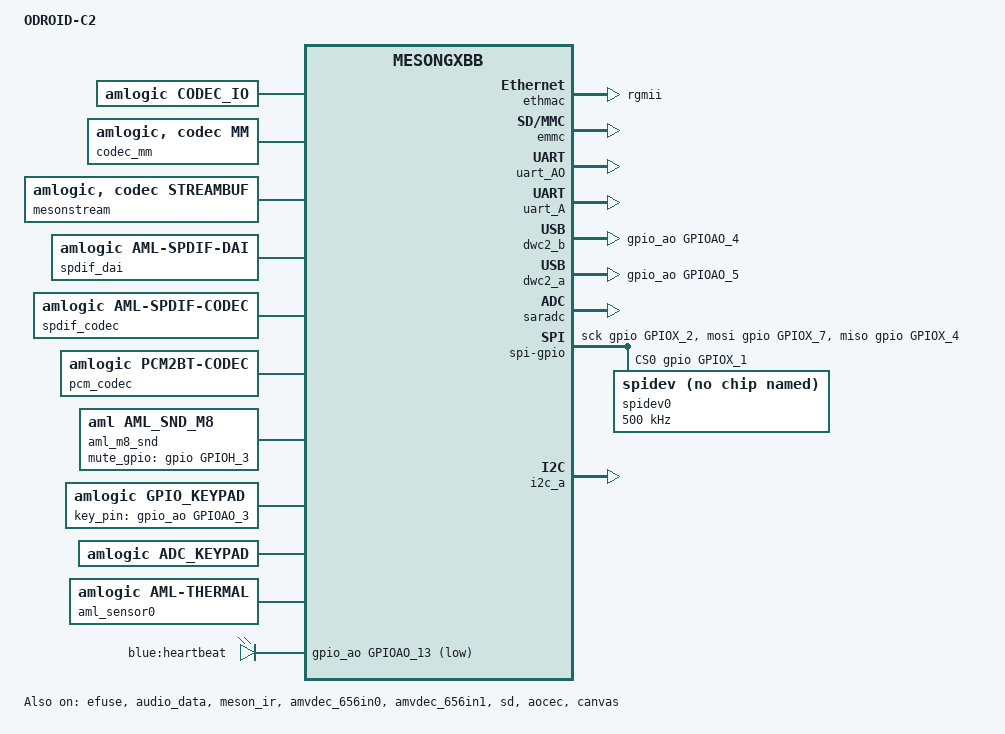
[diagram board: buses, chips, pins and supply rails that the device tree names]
/*
 * AMLogic's S905 based ODROID-C2 board device tree source
 *
 * Copyright (c) 2015 Hardkernel Co., Ltd.
 *                    http://www.hardkernel.com
 *
 * Device tree source file for Hardkernel's ODROID-C2 board based on AMLogic's
 * S905 SoC.
 *
 * This program is free software; you can redistribute it and/or modify
 * it under the terms of the GNU General Public License version 2 as
 * published by the Free Software Foundation.
 */

/dts-v1/;

#include <dt-bindings/interrupt-controller/arm-gic.h>
#include <dt-bindings/clock/gxbb.h>
#include <dt-bindings/gpio/gxbb.h>
#include <dt-bindings/gpio/gpio.h>
#include <dt-bindings/reset/aml_gxbb.h>
#include "amlogic/mesongxbb.dtsi"
/ {
	model = "ODROID-C2";
	amlogic-dt-id = "odroidc2_2g";
	compatible = "amlogic, Gxbb";
	interrupt-parent = <&gic>;
	#address-cells = <2>;
	#size-cells = <2>;

	aliases {
		serial0 = &uart_AO;
		serial1 = &uart_A;
	};

	gpu_dvfs_tbl:gpu_dvfs_tbl {
		sc_mpp = <3>;/* number of pp used most of time.*/
		tbl = <&clk285_cfg &clk400_cfg &clk500_cfg &clk666_cfg &clk800_cfg>;
	};

	memory@00000000 {
		device_type = "memory";
		linux,usable-memory = <0x0 0x1000000 0x0 0x7f000000>;
	};

	reserved-memory {
		#address-cells = <2>;
		#size-cells = <2>;
		ranges;
		/* global autoconfigured region for contiguous allocations */
		secmon_reserved:linux,secmon {
			compatible = "amlogic, aml_secmon_memory";
			reg = <0x0 0x10000000 0x0 0x200000>;
			no-map;
		};
		secos_reserved:linux,secos {
			status = "disable";
			compatible = "amlogic, aml_secos_memory";
			reg = <0x0 0x05300000 0x0 0x2000000>;
			no-map;
		};
		pstore:aml_pstore {
			compatible = "amlogic, pstore";
			reg = <0x0 0x07300000 0x0 0x100000>;
			no-map;
		};
		fb_reserved:linux,meson-fb {
			compatible = "amlogic, fb-memory";
			size = <0x0 0x1900000>;
			no-map;
		};

		di_reserved:linux,di {
			compatible = "amlogic, di-mem";
			size = <0x0 0x1e00000>; //10x1920x1088x3/2=30M
			//no-map;
			multi-use;
		};

		ion_reserved:linux,ion-dev {
			compatible = "amlogic, idev-mem";
			size = <0x0 0x2000000>;
			multi-use;
		};

		/*  POST PROCESS MANAGER */
		//ppmgr_reserved:linux,ppmgr {
		//	compatible = "amlogic, ppmgr_memory";
		//	size = <0x0 0x2000000>;
		//};

		codec_mm_cma:linux,codec_mm_cma {
			compatible = "shared-dma-pool";
			reusable;
			size = <0x0 0xc000000>;
			alignment = <0x0 0x400000>;
			linux,contiguous-region;
		};
		picdec_cma_reserved:linux,picdec {
			compatible = "shared-dma-pool";
			reusable;
			size = <0x0 0x0>;
			status = "disabled";
			alignment = <0x0 0x400000>;
			linux,contiguous-region;
		};
		/* codec shared reserved */
		codec_mm_reserved:linux,codec_mm_reserved {
			compatible = "amlogic, codec-mm-reserved";
			size = <0x0 0x4100000>;
			alignment = <0x0 0x100000>;
 			//no-map;
		};
	};

	meson-vout {
		compatible = "amlogic, meson-vout";
		dev_name = "meson-vout";
		status = "okay";
	};
	meson-fb {
		compatible = "amlogic, meson-fb";
		memory-region = <&fb_reserved>;
		dev_name = "meson-fb";
		status = "okay";
		interrupts = <0 3 1
			0 89 1>;
		interrupt-names = "viu-vsync", "rdma";
		mem_size = <0x01800000 0x00100000>; /* fb0/fb1 memory size */
		display_mode_default = "1080p60hz";
		scale_mode = <1>; /** 0:VPU free scale 1:OSD free scale 2:OSD super scale */
		display_size_default = <1920 1080 1920 3240 32>; //1920*1080*4*3 = 0x17BB000
	};
	ge2d {
		compatible = "amlogic, ge2d";
		dev_name = "ge2d";
		status = "okay";
		interrupts = <0 150 1>;
		interrupt-names = "ge2d";
		clocks = <&clock CLK_VAPB_0>,
			<&clock CLK_GE2D>;
		clock-names = "clk_vapb_0",
				"clk_ge2d";
		resets = <&clock GCLK_IDX_GE2D>;
		reset-names = "ge2d";
	};
	codec_io {
		compatible = "amlogic, codec_io";
		#address-cells=<2>;
		#size-cells=<2>;
		ranges;
		io_cbus_base{
			reg = <0x0 0xC1100000 0x0 0x100000>;
		};
		io_dos_base{
			reg = <0x0 0xc8820000 0x0 0x10000>;
		};
		io_hiubus_base{
			reg = <0x0 0xc883c000 0x0 0x2000>;
		};
		io_aobus_base{
			reg = <0x0 0xc8100000 0x0 0x100000>;
		};
		io_vcbus_base{
			reg = <0x0 0xd0100000 0x0 0x40000>;
		};
		io_dmc_base{
			reg = <0x0 0xc8838000 0x0 0x400>;
		};
	};
	codec_mm {
			compatible = "amlogic, codec, mm";
			memory-region = <&codec_mm_cma &codec_mm_reserved>;
			dev_name = "codec_mm";
			status = "okay";
	};
	ethmac: ethernet@0xc9410000{
                compatible = "amlogic, gxbb-rgmii-dwmac";
                reg = <0x0 0xc9410000 0x0 0x10000
                0x0 0xc8834540 0x0 0x8>;
                interrupts = <0 8 1>;
                phy-mode= "rgmii";
                pinctrl-names = "eth_pins";
                pinctrl-0 = <&eth_pins>;
                rst_pin-gpios = <&gpio GPIOZ_14 0>;
                mc_val = <0x1621>;
                resets = <&clock GCLK_IDX_ETHERNET>;
                reset-names = "ethpower";
                interrupt-names = "macirq";
                clocks = <&clock CLK_81>;
                clock-names = "ethclk81";
        };

	pwm {
		compatible = "amlogic, odroid-pwm";
		dev_name = "meson_pwm";
		status = "okay";
		pinctrl-names = "odroid_pwm0","odroid_pwm1";
		pinctrl-0 = <&odroid_pwm0>;
		pinctrl-1 = <&odroid_pwm1>;
	};

	pwm-ctrl {
		compatible = "amlogic, pwm-ctrl";
		dev_name = "pwm-ctrl";
		status = "okay";
	};

	mesonstream {
		compatible = "amlogic, codec, streambuf";
		dev_name = "mesonstream";
		status = "okay";
		resets = <&clock GCLK_IDX_HIU_PARSER_TOP
			&clock GCLK_IDX_VPU_INTR
			&clock GCLK_IDX_DEMUX
			&clock GCLK_IDX_DOS>;
		reset-names = "parser_top",
			"vpu_intr",
			"demux",
			"vdec";
	};

	amvideocap {
		compatible = "amlogic, amvideocap";
		dev_name = "amvideocap.0";
		status = "okay";
		max_size = <8>;//8M
	};

	ion_dev {
		compatible = "amlogic, ion_dev";
		memory-region = <&ion_reserved>;
	};

	vdec {
		compatible = "amlogic, vdec";
		dev_name = "vdec.0";
		status = "okay";
		interrupts = <0 3 1
			0 23 1
			0 32 1
			0 43 1
			0 44 1
			0 45 1>;
		interrupt-names = "vsync",
			"demux",
			"parser",
			"mailbox_0",
			"mailbox_1",
			"mailbox_2";
	};
	picdec {
		   compatible = "amlogic, picdec";
		   memory-region = <&picdec_cma_reserved>;
		   dev_name = "picdec";
		   status = "okay";
	};
	ppmgr {
		compatible = "amlogic, ppmgr";//to match of_device_id's compatible member
		memory-region = <&ion_reserved>;
		dev_name = "ppmgr";
		status = "okay";
	};
	deinterlace {
		compatible = "amlogic, deinterlace";
		status = "okay";
		memory-region = <&di_reserved>;
		interrupts = <0 46 1
				0 6 1>;
		interrupt-names = "de_irq",
				"timerc";
		buffer-size = <3133440>;	//1920x1088x3/2
		hw-version = <2>;
	};

	amvdec_656in0 {
		compatible = "amlogic, amvdec_656in";
		dev_name = "amvdec_656in0";
		status = "ok";
		reg = <0x0 0xd0048000 0x0 0x7c>;
		clocks = <&clock CLK_FPLL_DIV2>,
			<&clock CLK_BT656_CLK0>;
		clock-names = "fclk_div2", "cts_bt656_clk0";
		bt656_id = <0>;
	};
	amvdec_656in1 {
		compatible = "amlogic, amvdec_656in";
		dev_name = "amvdec_656in1";
		status = "ok";
		reg = <0x0 0xd0050000 0x0 0x7c>;
		clocks = <&clock CLK_FPLL_DIV2>,
			<&clock CLK_BT656_CLK1>;
		clock-names = "fclk_div2", "cts_bt656_clk1";
		bt656_id = <1>;
	};

	amvenc_avc{
		compatible = "amlogic, amvenc_avc";
		//memory-region = <&amvenc_avc_reserved>;
		dev_name = "amvenc_avc";
		status = "okay";
		interrupts = <0 45 1>;
		interrupt-names = "mailbox_2";
	};

	vpu {
		compatible = "amlogic, vpu";
		dev_name = "vpu";
		status = "ok";
		clk_level = <7>;
		/**	0: 100.0M    1: 166.7M    2: 200.0M
			3: 250.0M    4: 333.3M    5: 400.0M
			6: 500.0M    7: 666.7M */
	};

    sd{
        compatible = "amlogic, aml_sd_emmc";
        dev_name = "aml_newsd.0";
        status = "okay";
        reg = <0x0 0xd0072000 0x0 0x2000>;
        interrupts = <	0 217 1
        				0 67 1
        				0 69 1>;
        pinctrl-names = "sd_clk_cmd_pins", "sd_all_pins", "sd_1bit_pins","sd_clk_cmd_uart_pins","sd_1bit_uart_pins", "sd_to_ao_uart_pins", "ao_to_sd_uart_pins","ao_to_sd_jtag_pins","sd_to_ao_jtag_pins";
        pinctrl-0 = <&sd_clk_cmd_pins>;
        pinctrl-1 = <&sd_all_pins>;
        pinctrl-2 = <&sd_1bit_pins>;
        pinctrl-3 = <&sd_clk_cmd_uart_pins>;
        pinctrl-4 = <&sd_1bit_uart_pins>;
        pinctrl-5 = <&sd_to_ao_uart_pins>;
        pinctrl-6 = <&ao_to_sd_uart_pins>;
        pinctrl-7 = <&ao_to_sd_jtag_pins>;
        pinctrl-8 = <&sd_to_ao_jtag_pins>;

		sd{
	   		status = "okay";
	   		pinname = "sd";
	   		ocr_avail = <0x00200080>; // 3.3:0x200000, 1.8+3.3:0x00200080
	   		caps = "MMC_CAP_4_BIT_DATA","MMC_CAP_MMC_HIGHSPEED",
					"MMC_CAP_SD_HIGHSPEED";
					//"MMC_CAP_UHS_SDR12",
					//"MMC_CAP_UHS_SDR25","MMC_CAP_UHS_SDR50",
					//"MMC_CAP_UHS_SDR104";
	   		f_min = <400000>;
	   		f_max = <100000000>;
	   		max_req_size = <0x20000>;          /**128KB*/
			gpio_dat3 = <&gpio       CARD_4       GPIO_ACTIVE_HIGH>;
			jtag_pin =  <&gpio       CARD_0       GPIO_ACTIVE_HIGH>;
			gpio_cd =  <&gpio       CARD_6       GPIO_ACTIVE_HIGH>;
			/*if card have no switch gpio, remove all relative to vol_switch */
			vol_switch =  <&gpio_ao       GPIOAO_3       GPIO_ACTIVE_LOW>;
			vol_switch_18 = <1>; /* 1 = high, 0 = low */
			vol_switch_delay = <150>; /* Uint: ms*/
	   		irq_in = <3>;
	   		irq_out = <5>;
	   		card_type = <5>; /* 0:unknown, 1:mmc card(include eMMC), 2:sd card(include tSD), 3:sdio device(ie:sdio-wifi), 4:SD combo (IO+mem) card, 5:NON sdio device(means sd/mmc card), other:reserved */
		};
    };
    emmc{
        compatible = "amlogic, aml_sd_emmc";
        dev_name = "aml_newsd.0";
        status = "okay";
        reg = <0x0 0xd0074000 0x0 0x2000>;
        interrupts = <	0 218 1>;
        pinctrl-names = "emmc_clk_cmd_pins", "emmc_all_pins";
        pinctrl-0 = <&emmc_clk_cmd_pins>;
        pinctrl-1 = <&emmc_all_pins>;
        emmc{
            status = "okay";
            pinname = "emmc";
            ocr_avail = <0x200080>;          /**VDD voltage 3.3 ~ 3.4 */
            caps = "MMC_CAP_8_BIT_DATA","MMC_CAP_MMC_HIGHSPEED",
			"MMC_CAP_SD_HIGHSPEED", "MMC_CAP_NONREMOVABLE","MMC_CAP_1_8V_DDR",
			"MMC_CAP_HW_RESET", "MMC_CAP_ERASE", "MMC_CAP_CMD23";
                        caps2 = "MMC_CAP2_HS200_1_8V_SDR",
                              "MMC_CAP2_HS400_1_8V",
                              "MMC_CAP2_BROKEN_VOLTAGE",
                              "MMC_CAP2_BOOTPART_NOACC";
                        f_min = <400000>;
                        f_max = <100000000>;
			tx_phase = <0>;
            max_req_size = <0x20000>;          /**256KB*/
//            gpio_dat3 = "BOOT_3"
		gpio_dat3 = <&gpio       BOOT_3      GPIO_ACTIVE_HIGH>;
		hw_reset =  <&gpio       BOOT_9      GPIO_ACTIVE_HIGH>;
            card_type = <1>; /* 1:mmc card(include eMMC), 2:sd card(include tSD), */
		};
    };

	amhdmitx: amhdmitx{
		compatible = "amlogic, amhdmitx";
		dev_name = "amhdmitx";
		status = "okay";
		pinctrl-names="hdmitx_hpd", "hdmitx_ddc";
		pinctrl-0=<&hdmitx_hpd>;
		pinctrl-1=<&hdmitx_ddc>;
		/* HPD, 57 + 32 = 89; CEC, 151 + 32 = 183*/
		interrupts = <0 57 1>;
		interrupt-names = "hdmitx_hpd";
		clocks = <&clock CLK_HDMITX_SYS &clock CLK_HDMITX_ENCP
			&clock CLK_HDMITX_ENCI &clock CLK_HDMITX_PIXEL
			&clock CLK_HDMITX_PHY &clock CLK_VID>;
		clock-names = "hdmitx_clk_sys", "hdmitx_clk_encp", "hdmitx_clk_enci",
			"hdmitx_clk_pixel", "hdmitx_clk_phy", "hdmitx_clk_vid";
		ranges;
		#address-cells = <2>;
		#size-cells = <2>;
	};
	aocec: aocec{
		compatible = "amlogic, amlogic-aocec";
		status = "okay";
		vendor_name = "Hardkernel"; /* Max Chars: 8     */
		vendor_id = <0x000000>; /* Refer to http://standards.ieee.org/develop/regauth/oui/oui.txt   */
		product_desc = "ODROID-C2"; /* Max Chars: 16    */
		cec_osd_string = "ODROID-C2"; /* Max Chars: 14    */
		port_num = <1>;
		arc_port_mask = <0x0>;
		interrupts = <0 199 1>;
		interrupt-names = "hdmi_aocec";
		pinctrl-names = "hdmitx_aocec";
		pinctrl-0=<&hdmitx_aocec>;
		reg = <0x0 0xc810023c 0x0 0x4
		       0x0 0xc8100000 0x0 0x200>;
	};

	tvout {
		compatible = "amlogic, tvout";
		dev_name = "tvout";
		status = "okay";
	};

	uart_AO: serial@c81004c0 {
		compatible = "amlogic, meson-uart";
		reg = <0x0 0xc81004c0 0x0 0x14>;
		interrupts = <0 193 1>;
		status = "okay";
		clocks = <&clock CLK_XTAL>;
		clock-names = "clk_uart";
		fifosize = < 64 >;
		pinctrl-names = "default";
		//pinctrl-0 = <&ao_uart_pins>;
		support-sysrq = <0>;	/* 0 not support , 1 support */
	};
	uart_A: serial@c11084c0 {
		compatible = "amlogic, meson-uart";
		reg = <0x0 0xc11084c0 0x0 0x14>;
		interrupts = <0 26 1>;
		status = "okay";
		clocks = <&clock CLK_XTAL>;
		clock-names = "clk_uart";
		fifosize = < 128 >;
		pinctrl-names = "default";
		pinctrl-0 = <&a_uart_pins>;
		resets = <&clock GCLK_IDX_UART0>;
	};


	canvas{
		compatible = "amlogic, meson, canvas";
		dev_name = "amlogic-canvas";
		status = "ok";
		reg = <0x0 0xc8838000 0x0 0x400>;
	};

	rdma{
		compatible = "amlogic, meson, rdma";
		dev_name = "amlogic-rdma";
		status = "ok";
		interrupts = <0 89 1>;
		interrupt-names = "rdma";
	};

	dwc2_b {
		compatible = "amlogic,dwc2";
		device_name = "dwc2_b";
		reg = <0x0 0xc9100000 0x0 0x40000>;
		interrupts = <0 31 4>;
		status = "okay";
		pl-periph-id = <1>; /** lm name */
		clock-src = "usb1"; /** clock src */
		port-id = <1>;   /** ref to mach/usb.h */
		port-type = <1>;	/** 0: otg, 1: host, 2: slave */
		port-speed = <0>; /** 0: default, 1: high, 2: full */
		port-config = <0>; /** 0: default */
		port-dma = <0>; /** 0: default, 1: single, 2: incr, 3: incr4, 4: incr8, 5: incr16, 6: disable*/
		port-id-mode = <1>; /** 0: hardware, 1: sw_host, 2: sw_slave*/
		gpio-hub-rst = "GPIOAO_4";
		gpios = <&gpio_ao GPIOAO_4 GPIO_ACTIVE_HIGH>;
		phy-reg = <0xc0000020>;
		phy-reg-size = <0x20>;
		usb-fifo = <1024>;
		host-only-core = <1>;
		pmu-apply-power = <1>;
		cpu-type = "gxbaby";
		resets = <&clock GCLK_IDX_USB_GENERAL
					&clock GCLK_IDX_MISC_USB1_TO_DDR
					&clock GCLK_IDX_USB1>;
		reset-names = "usb_general",
						"usb1",
						"usb1_to_ddr";
	};

	odroid_sysfs {
		compatible = "odroid-sysfs";
	};

	dwc2_a {
		compatible = "amlogic,dwc2";
		device_name = "dwc2_a";
		reg = <0x0 0xc9000000 0x0 0x40000>;
		interrupts = <0 30 4>;
		status = "okay";
		pl-periph-id = <0>; /** lm name */
		clock-src = "usb0"; /** clock src */
		port-id = <0>;  /** ref to mach/usb.h */
		port-type = <0>;	/** 0: otg, 1: host, 2: slave */
		port-speed = <0>; /** 0: default, high, 1: full */
		port-config = <0>; /** 0: default */
		port-dma = <0>; /** 0: default, 1: single, 2: incr, 3: incr4, 4: incr8, 5: incr16, 6: disable*/
		port-id-mode = <0>; /** 0: hardware, 1: sw_host, 2: sw_slave*/
		gpio-vbus-power = "GPIOAO_5";
		gpios = <&gpio_ao GPIOAO_5 GPIO_ACTIVE_HIGH>;
		gpio-work-mask	= <1>; /**0: work on pulldown,1:work on pullup*/
		phy-reg = <0xc0000000>;
		phy-reg-size = <0x20>;
		usb-fifo = <1024>;
		cpu-type = "gxbaby";
		resets = <&clock GCLK_IDX_USB_GENERAL
					    &clock GCLK_IDX_MISC_USB0_TO_DDR
              &clock GCLK_IDX_USB0>;
		reset-names = "usb_general",
						"usb0",
						"usb0_to_ddr";
	};

	/* AUDIO MESON8 DEVICES */
	i2s_dai: I2S {
		#sound-dai-cells = <0>;
		resets = <
			&clock GCLK_IDX_AIU_AI_TOP_GLUE
			&clock GCLK_IDX_AUD_BUF_ABD
			&clock GCLK_IDX_AIU_I2S_OUT
			&clock GCLK_IDX_AIU_AMCLK_MEASURE
			&clock GCLK_IDX_AIU_AIFIFO2
			&clock GCLK_IDX_AIU_AUD_MIXER
			&clock GCLK_IDX_AIU_MIXER_REG
			&clock GCLK_IDX_AIU_ADC
			&clock GCLK_IDX_AIU_TOP_LEVEL
			&clock GCLK_IDX_AIU_AOCLK
			&clock GCLK_IDX_AUD_IN
		>;
		reset-names =
			"top_glue",
			"aud_buf",
			"i2s_out",
			"amclk_measure",
			"aififo2",
			"aud_mixer",
			"mixer_reg",
			"adc",
			"top_level",
			"aoclk",
			"aud_in";
		clocks = <&clock CLK_MPLL2>,
			<&clock CLK_AMCLK>;
		clock-names = "mpll2", "mclk";
		compatible = "amlogic, aml-i2s-dai";
	};
	spdif_dai: SPDIF {
		#sound-dai-cells = <0>;
		compatible = "amlogic, aml-spdif-dai";
		resets = <
			&clock GCLK_IDX_AIU_IEC958
			&clock GCLK_IDX_AIU_ICE958_AMCLK
		>;
		reset-names =
			"iec958",
			"iec958_amclk";
		clocks = <&clock CLK_MPLL1>,
			<&clock CLK_I958>,
			<&clock CLK_AMCLK>,
			<&clock CLK_SPDIF>,
			<&clock CLK_81>;
		clock-names = "mpll1", "i958", "mclk", "spdif", "clk_81";
	};
	pcm_dai: PCM {
		#sound-dai-cells = <0>;
		compatible = "amlogic, aml-pcm-dai";
		pinctrl-names = "aml_audio_btpcm";
		pinctrl-0 = <&audio_btpcm_pins>;
		clocks = <&clock CLK_MPLL0>,
			<&clock CLK_PCM_MCLK>,
			<&clock CLK_PCM_SCLK>;
		clock-names = "mpll0", "pcm_mclk", "pcm_sclk";
		pcm_mode = <1>;	/* 0=slave mode, 1=master mode */
        };
	i2s_plat: i2s_platform {
		compatible = "amlogic, aml-i2s";
		interrupts = <0 29 1>;
	};
	pcm_plat: pcm_platform {
		compatible = "amlogic, aml-pcm";
	};
	spdif_codec: spdif_codec {
		#sound-dai-cells = <0>;
		compatible = "amlogic, aml-spdif-codec";
		device_name = "dummy-spdif-dit.0";
		pinctrl-names = "aml_audio_spdif";
		pinctrl-0 = <&audio_spdif_pins>;
	};
	pcm_codec: pcm_codec{
		#sound-dai-cells = <0>;
		compatible = "amlogic, pcm2BT-codec";
	};
	/* endof AUDIO MESON8 DEVICES */

	/* AUDIO board specific */
	dummy_codec:dummy{
		#sound-dai-cells = <0>;
		compatible = "amlogic, aml_dummy_codec";
		status = "okay";
	};
	aml_m8_snd {
		compatible = "aml, aml_snd_m8";
		status = "okay";
		aml-sound-card,format = "i2s";
		aml_sound_card,name = "AML-M8AUDIO";
		aml,audio-routing =
				"Ext Spk","LOUTL",
				"Ext Spk","LOUTR";

		mute_gpio-gpios = <&gpio GPIOH_3 0>;
		hp_disable;
		hp_paraments = <800 300 0 5 1>;
		pinctrl-names = "aml_snd_m8";
		pinctrl-0 = <&audio_pins>;
		cpu_list = <&cpudai0 &cpudai1 &cpudai2>;
		codec_list = <&codec0 &codec1 &codec2>;
		plat_list = <&i2s_plat &i2s_plat &pcm_plat>;
		cpudai0: cpudai0 {
			sound-dai = <&i2s_dai>;
		};
		cpudai1: cpudai1 {
			sound-dai = <&spdif_dai>;
		};
		cpudai2: cpudai2 {
			sound-dai = <&pcm_dai>;
		};
		codec0: codec0 {
			sound-dai = <&dummy_codec>;
		};
		codec1: codec1 {
			sound-dai = <&spdif_codec>;
		};
		codec2: codec2 {
			sound-dai = <&pcm_codec>;
		};
	};
	/* END OF AUDIO board specific */

	gpio_keypad{
	    compatible = "amlogic, gpio_keypad";
		status = "okay";
		scan_period = <20>;
		key_num = <1>;
	    key_name = "power";
		key_code = <116>;
		key_pin = <&gpio_ao  GPIOAO_3  GPIO_ACTIVE_HIGH>;  /*"GPIOAO_3";*/
	    irq_keyup = <6>;
	    irq_keydown = <7>;
	};

	adc_keypad{
		compatible = "amlogic, adc_keypad";
		status = "okay";
		key_name = "menu", "vol-","vol+", "esc", "home";
		key_num = <5>;
		key_code = <139 114 115 1 102>;
		key_chan = <0 0 0 0 0>;
		key_val = <0 143 271 393 510>; //voltage=0/252/478/692/824mV, val=voltage/1800mV*1023
		key_tolerance = <40 40 40 40 40>;
	};

	aml_sensor0: aml-sensor@0 {
		compatible = "amlogic, aml-thermal";
		device_name = "thermal";
		#thermal-sensor-cells = <1>;
		cooling_devices {
			cpufreq_cool_cluster0 {
				min_state = <1000000>;
				dyn_coeff = <140>;
				cluster_id = <0>;
				node_name = "cpus";
				device_type = "cpufreq";
			};
			cpucore_cool_cluster0 {
				min_state = <1>;
				dyn_coeff = <0>;
				cluster_id = <0>;
				node_name = "cpu_core_cluster0";
				device_type = "cpucore";
			};
			gpufreq_cool {
				min_state = <400>;
				dyn_coeff = <437>;
				cluster_id = <0>;
				node_name = "mali";
				device_type = "gpufreq";
			};
			gpucore_cool {
				min_state = <1>;
				dyn_coeff = <0>;
				cluster_id = <0>;
				node_name = "thermal_gpu_cores";
				device_type = "gpucore";
			};
		};
		cpu_cluster0:cpu_core_cluster0 {
			#cooling-cells = <2>; /* min followed by max */
		};
		gpucore:thermal_gpu_cores {
			#cooling-cells = <2>; /* min followed by max */
		};
	};
	thermal-zones {
		soc_thermal {
			polling-delay = <1000>;
			polling-delay-passive = <100>;
			sustainable-power = <2150>;

			thermal-sensors = <&aml_sensor0 3>;

			trips {
				switch_on: trip-point@0 {
					temperature = <70000>;
					hysteresis = <1000>;
					type = "passive";
				};
				control: trip-point@1 {
					temperature = <80000>;
					hysteresis = <1000>;
					type = "passive";
				};
				hot: trip-point@2 {
					temperature = <85000>;
					hysteresis = <5000>;
					type = "hot";
				};
				critical: trip-point@3 {
					temperature = <260000>;
					hysteresis = <1000>;
					type = "critical";
				};
			};

			cooling-maps {
				cpufreq_cooling_map {
					trip = <&control>;
					cooling-device = <&cpus 0 4>;
					contribution = <1024>;
				};
				cpucore_cooling_map {
					trip = <&control>;
					cooling-device = <&cpu_cluster0 0 3>;
					contribution = <1024>;
				};
				gpufreq_cooling_map {
					trip = <&control>;
					cooling-device = <&gpu 0 4>;
					contribution = <1024>;
				};
				gpucore_cooling_map {
					trip = <&control>;
					cooling-device = <&gpucore 0 2>;
					contribution = <1024>;
				};
			};
		};
	};

	saradc: saradc {
		compatible = "amlogic, saradc";
		status = "okay";
		interrupts = <0 9 1>;
		interrupt-names = "saradc_int";
		clocks = <&clock CLK_XTAL>;
		clock-names = "saradc_clk";
                reg = <0x0 0xc1108680 0x0 0x30
                        0x0 0xc883c3d8 0x0 0x08>;
	};

        leds: gpio_leds {
                compatible = "gpio-leds";

		pinctrl-names = "led_pins";
		pinctrl-0 = <&led_pins>;

                /* Blue LED */
                heartbeat {
                        label = "blue:heartbeat";
                        gpios = <&gpio_ao GPIOAO_13 GPIO_ACTIVE_LOW>;
                        linux,default-trigger = "heartbeat";
                };
        };

	spi-gpio {
		compatible = "spi-gpio";
		#address-cells = <1>;
		#size-cells = <0>;
		status = "ok";
		id = <0>;
		gpio-sck  = <&gpio GPIOX_2 0>;
		gpio-miso = <&gpio GPIOX_4 0>;
		gpio-mosi = <&gpio GPIOX_7 0>;
		cs-gpios  = <&gpio GPIOX_1 0
			     &gpio GPIOY_14 0>;
		num-chipselects = <2>;

		/* clients */
		spidev0: spi-gpio@0 {
			compatible = "spidev";
			reg = <0>;
			spi-max-frequency = <500000>;
		};
	};
};
&i2c_a {
    status = "okay";

    /* Hardkernel I2C RTC */
    pcf8563: pcf8563@51    {
        status = "disabled";
        compatible = "nxp,pcf8563";
        reg = <0x51>;
        #clock-cells = <0>;
    };
};
/*
&i2c_b {
  status = "okay";
};
*/

&i2c_slave {
	status = "disabled";
};
&pinmux {
	audio_pins:audio_pin{
		amlogic,setmask=<AO 0x78000000>;
		amlogic,clrmask=<AO 0x40000>;
		amlogic,pins = "GPIOAO_8","GPIOAO_9","GPIOAO_10","GPIOAO_11";
	};

	audio_spdif_pins:audio_pin1{
		amlogic,setmask=<AO 0x10000>;	/*spdif_out*/
		amlogic,clrmask=<AO 0x40000>;	/*spdif_out*/
		amlogic,pins ="GPIOAO_6";		/*spdif_out*/
	};

	audio_btpcm_pins:audio_btpcm_pins{
		/* BT PCM PINMUX SETTING*/
		amlogic,setmask=<3 0x78000000>;
		amlogic,clrmask=<3 0x803280
				4 0xc0>;
		amlogic,pins ="GPIOX_8", "GPIOX_9", "GPIOX_10", "GPIOX_11";
	};

        led_pins: led_pin {
                amlogic,setmask = <AO 0x00000>;
                amlogic,clrmask = <AO 0x80000018>;
                amlogic,pins = "GPIOAO_13";
        };

	odroid_pwm0: odroid_pwm0 {
		amlogic,setmask=<3 0x00020000>;
		amlogic,clrmask=<3 0x00000200>;
		amlogic,pins="GPIOX_6";
	};
	odroid_pwm1: odroid_pwm1 {
		amlogic,setmask=<3 0x00020000
		                 3 0x00060000>;
		amlogic,clrmask=<3 0x00000300
		                 8 0x00000800>;
		amlogic,pins="GPIOX_6","GPIOX_7";
	};
};

&efuse {
	status = "okay";
};
&audio_data{
	status = "okay";
};
&aml_remote {
	status = "disabled";
};
&meson_ir {
	status = "okay";
};
